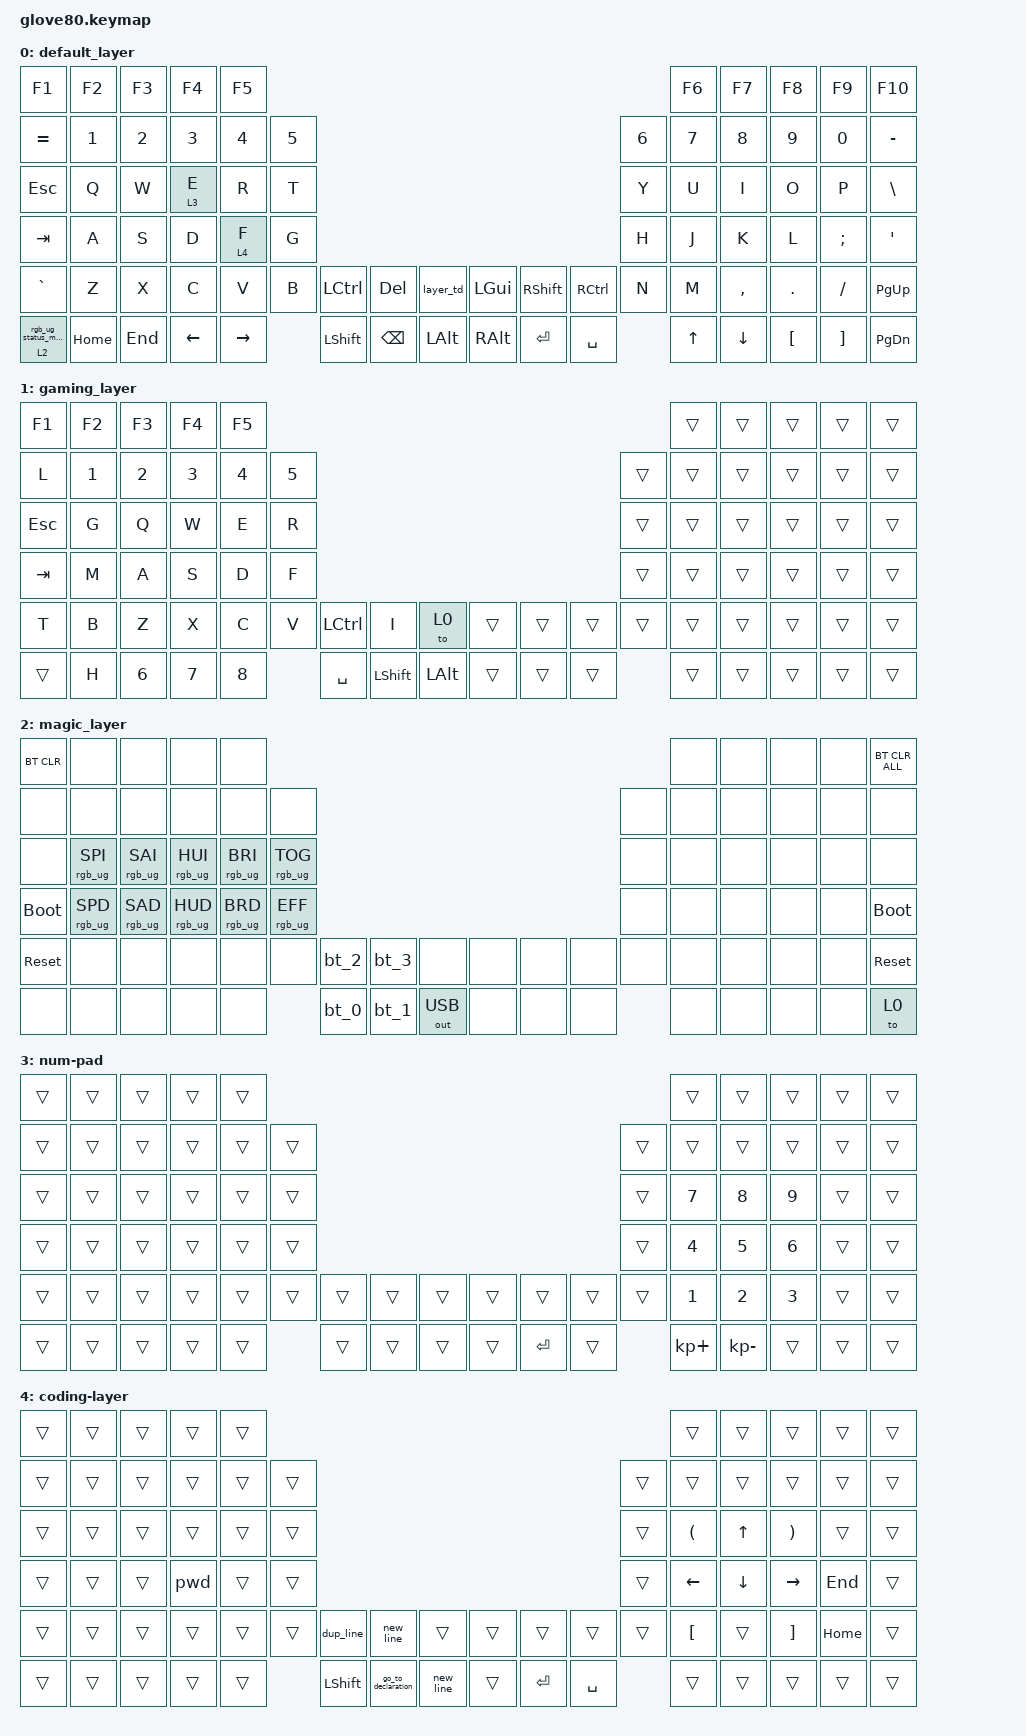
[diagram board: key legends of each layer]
/*
 * Copyright (c) 2020 The ZMK Contributors
 *
 * SPDX-License-Identifier: MIT
 */

#include <behaviors.dtsi>
#include <dt-bindings/zmk/bt.h>
#include <dt-bindings/zmk/keys.h>
#include <dt-bindings/zmk/outputs.h>
#include <dt-bindings/zmk/rgb.h>

#define HYPER LC(LS(LG(LALT)))

// layers

#define DEFAULT 0
#define LOWER 1
#define MAGIC 2
#define FACTORY_TEST 3

/ {
    behaviors {
        // For the "layer" key, it'd nice to be able to use it as either a shift or a toggle.
        // Configure it as a tap dance, so the first tap (or hold) is a &mo and the second tap is a &to

        layer_td: tap_dance_0 {
            compatible = "zmk,behavior-tap-dance";
            label = "LAYER_TAP_DANCE";
            #binding-cells = <0>;
            tapping-term-ms = <200>;
            bindings = <&mo 1>, <&to 1>;
        };

        magic: magic_hold_tap {
            compatible = "zmk,behavior-hold-tap";
            label = "MAGIC_HOLD_TAP";
            #binding-cells = <2>;
            flavor = "tap-preferred";
            tapping-term-ms = <200>;
            bindings = <&mo>, <&rgb_ug_status_macro>;
        };

        hm: hm {
            compatible = "zmk,behavior-hold-tap";
            label = "HM";
            bindings = <&kp>, <&kp>;

            #binding-cells = <2>;
            tapping-term-ms = <400>;
            quick-tap-ms = <400>;
            require-prior-idle-ms = <400>;
            flavor = "tap-preferred";
        };

        cust_hold_tap: cust_hold_tap {
            compatible = "zmk,behavior-hold-tap";
            label = "CUST_HOLD_TAP";
            bindings = <&mo>, <&kp>;

            #binding-cells = <2>;
            tapping-term-ms = <400>;
            flavor = "tap-preferred";
            quick-tap-ms = <400>;
        };
    };

    macros {
        rgb_ug_status_macro: rgb_ug_status_macro_0 {
            label = "RGB_UG_STATUS";
            compatible = "zmk,behavior-macro";
            #binding-cells = <0>;
            bindings = <&rgb_ug RGB_STATUS>;
        };

        bt_0: bt_profile_macro_0 {
            label = "BT_0";
            compatible = "zmk,behavior-macro";
            #binding-cells = <0>;
            bindings = <&out OUT_BLE &bt BT_SEL 0>;
        };

        bt_1: bt_profile_macro_1 {
            label = "BT_1";
            compatible = "zmk,behavior-macro";
            #binding-cells = <0>;
            bindings = <&out OUT_BLE &bt BT_SEL 1>;
        };

        bt_2: bt_profile_macro_2 {
            label = "BT_2";
            compatible = "zmk,behavior-macro";
            #binding-cells = <0>;
            bindings = <&out OUT_BLE &bt BT_SEL 2>;
        };

        bt_3: bt_profile_macro_3 {
            label = "BT_3";
            compatible = "zmk,behavior-macro";
            #binding-cells = <0>;
            bindings = <&out OUT_BLE &bt BT_SEL 3>;
        };

        dup_line: dup_line {
            compatible = "zmk,behavior-macro";
            #binding-cells = <0>;
            bindings = <&sk LEFT_CONTROL &kp D>;
            label = "DUP_LINE";
        };

        new_line: new_line {
            compatible = "zmk,behavior-macro";
            #binding-cells = <0>;
            bindings = <&sk LC(LEFT_SHIFT) &kp ENTER>;
            label = "NEW_LINE";
        };

        go_to_declaration: go_to_declaration {
            compatible = "zmk,behavior-macro";
            #binding-cells = <0>;
            bindings = <&sk LEFT_CONTROL &kp B>;
            label = "GO_TO_DECLARATION";
        };

        pwd: pwd {
            compatible = "zmk,behavior-macro";
            #binding-cells = <0>;
            bindings = <&none &kp LS(J) &kp J &kp C &kp N0 &kp N1 &kp D &kp E &kp C &kp EXCL &kp AT &kp EXCL &kp AT>;
            label = "PWD";
        };
    };

    keymap {
        compatible = "zmk,keymap";

        default_layer {
            // ---------------------------------------------------------------------------------------------------------------------------------
            // |  F1   |  F2 |  F3 |  F4  |  F5  |                                                               |  F6   |  F7   |  F8  |   F9  |  F10 |
            // |  =    |  1  |  2  |  3   |  4   |  5   |                                                 |  6   |   7   |   8   |  9   |   0   |   -  |
            // |  TAB  |  Q  |  W  |  E   |  R   |  T   |                                                 |  Y   |   U   |   I   |  O   |   P   |   \  |
            // |  ESC  |  A  |  S  |  D   |  F   |  G   |                                                 |  H   |   J   |   K   |  L   |   ;   |   '  |
            // |   `   |  Z  |  X  |  C   |  V   |  B   | LSHFT | LCTRL | LOWER | | LGUI  | RCTRL | RSHFT |  N   |   M   |   ,   |  .   |   /   | PGUP |
            // | MAGIC | HOME| END | LEFT | RIGHT|      | BSPC  | DEL   | LALT  | | RALT  | RET   | SPACE |      |  UP   | DOWN  |  [   |   ]   | PGDN |

            bindings = <
&kp F1      &kp F2    &kp F3   &kp F4              &kp F5                                                                                                             &kp F6  &kp F7     &kp F8    &kp F9    &kp F10
&kp EQUAL   &kp N1    &kp N2   &kp N3              &kp N4     &kp N5                                                                                          &kp N6  &kp N7  &kp N8     &kp N9    &kp N0    &kp MINUS
&kp ESCAPE  &kp Q     &kp W    &cust_hold_tap 3 E  &kp R      &kp T                                                                                           &kp Y   &kp U   &kp I      &kp O     &kp P     &kp BSLH
&kp TAB     &kp A     &kp S    &kp D               &lt 4 F    &kp G                                                                                           &kp H   &kp J   &kp K      &kp L     &kp SEMI  &kp SQT
&kp GRAVE   &kp Z     &kp X    &kp C               &kp V      &kp B   &kp LCTRL       &kp DELETE     &layer_td  &kp LGUI  &kp RIGHT_SHIFT  &kp RIGHT_CONTROL  &kp N   &kp M   &kp COMMA  &kp DOT   &kp FSLH  &kp PG_UP
&magic 2 0  &kp HOME  &kp END  &kp LEFT            &kp RIGHT          &kp LEFT_SHIFT  &kp BACKSPACE  &kp LALT   &kp RALT  &kp RET          &kp SPACE                  &kp UP  &kp DOWN   &kp LBKT  &kp RBKT  &kp PG_DN
            >;
        };

        gaming_layer {
            bindings = <
&kp F1      &kp F2        &kp F3        &kp F4        &kp F5                                                                                                      &trans  &trans  &trans  &trans  &trans
&kp L       &kp NUMBER_1  &kp NUMBER_2  &kp NUMBER_3  &kp NUMBER_4  &kp NUMBER_5                                                                          &trans  &trans  &trans  &trans  &trans  &trans
&kp ESCAPE  &kp G         &kp Q         &kp W         &kp E         &kp R                                                                                 &trans  &trans  &trans  &trans  &trans  &trans
&kp TAB     &kp M         &kp A         &kp S         &kp D         &kp F                                                                                 &trans  &trans  &trans  &trans  &trans  &trans
&kp T       &kp B         &kp Z         &kp X         &kp C         &kp V         &kp LEFT_CONTROL  &kp I           &to 0         &trans  &trans  &trans  &trans  &trans  &trans  &trans  &trans  &trans
&trans      &kp H         &kp NUMBER_6  &kp NUMBER_7  &kp NUMBER_8                &kp SPACE         &kp LEFT_SHIFT  &kp LEFT_ALT  &trans  &trans  &trans          &trans  &trans  &trans  &trans  &trans
            >;
        };

        magic_layer {
            bindings = <
&bt BT_CLR   &none            &none            &none            &none                                                                                     &none  &none  &none  &none  &bt BT_CLR_ALL
&none        &none            &none            &none            &none            &none                                                             &none  &none  &none  &none  &none  &none
&none        &rgb_ug RGB_SPI  &rgb_ug RGB_SAI  &rgb_ug RGB_HUI  &rgb_ug RGB_BRI  &rgb_ug RGB_TOG                                                   &none  &none  &none  &none  &none  &none
&bootloader  &rgb_ug RGB_SPD  &rgb_ug RGB_SAD  &rgb_ug RGB_HUD  &rgb_ug RGB_BRD  &rgb_ug RGB_EFF                                                   &none  &none  &none  &none  &none  &bootloader
&sys_reset   &none            &none            &none            &none            &none            &bt_2  &bt_3  &none         &none  &none  &none  &none  &none  &none  &none  &none  &sys_reset
&none        &none            &none            &none            &none                             &bt_0  &bt_1  &out OUT_USB  &none  &none  &none         &none  &none  &none  &none  &to 0
            >;
        };

        num-pad {
            bindings = <
&trans  &trans  &trans  &trans  &trans                                                                     &trans        &trans        &trans        &trans  &trans
&trans  &trans  &trans  &trans  &trans  &trans                                                     &trans  &trans        &trans        &trans        &trans  &trans
&trans  &trans  &trans  &trans  &trans  &trans                                                     &trans  &kp NUMBER_7  &kp NUMBER_8  &kp NUMBER_9  &trans  &trans
&trans  &trans  &trans  &trans  &trans  &trans                                                     &trans  &kp NUMBER_4  &kp NUMBER_5  &kp NUMBER_6  &trans  &trans
&trans  &trans  &trans  &trans  &trans  &trans  &trans  &trans  &trans  &trans  &trans     &trans  &trans  &kp NUMBER_1  &kp NUMBER_2  &kp NUMBER_3  &trans  &trans
&trans  &trans  &trans  &trans  &trans          &trans  &trans  &trans  &trans  &kp ENTER  &trans          &kp KP_PLUS   &kp KP_MINUS  &trans        &trans  &trans
            >;
        };

        coding-layer {
            bindings = <
&trans  &trans  &trans  &trans  &trans                                                                                               &trans                &trans          &trans                 &trans    &trans
&trans  &trans  &trans  &trans  &trans  &trans                                                                               &trans  &trans                &trans          &trans                 &trans    &trans
&trans  &trans  &trans  &trans  &trans  &trans                                                                               &trans  &kp LEFT_PARENTHESIS  &kp UP_ARROW    &kp RIGHT_PARENTHESIS  &trans    &trans
&trans  &trans  &trans  &pwd    &trans  &trans                                                                               &trans  &kp LEFT              &kp DOWN_ARROW  &kp RIGHT              &kp END   &trans
&trans  &trans  &trans  &trans  &trans  &trans  &dup_line       &new_line           &trans     &trans  &trans     &trans     &trans  &kp LEFT_BRACKET      &trans          &kp RIGHT_BRACKET      &kp HOME  &trans
&trans  &trans  &trans  &trans  &trans          &kp LEFT_SHIFT  &go_to_declaration  &new_line  &trans  &kp ENTER  &kp SPACE          &trans                &trans          &trans                 &trans    &trans
            >;
        };
    };
};
